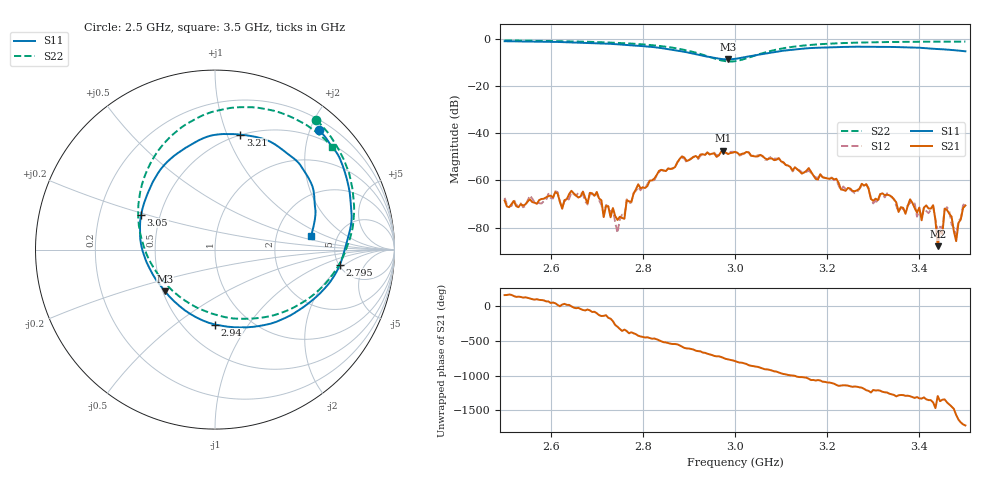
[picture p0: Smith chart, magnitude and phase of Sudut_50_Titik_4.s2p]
# Hz S RI R 50
! CMT, C1220, 16058040, 17.2.0/1
! Date: 15/08/2018 10:31:40
! Data: Format (Calibration Info)
! Freq  S11: Re/Im (F2)  S21: Re/Im (F2)  S12: Re/Im (F2)  S22: Re/Im (F2)
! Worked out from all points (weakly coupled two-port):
!   201 points, 2.5 GHz to 3.5 GHz, reference 50 ohm
!   highest |S21| = -47.48 dB at 2.975 GHz (marker M1); lowest = -87.9 dB at 3.44 GHz (marker M2)
!   lowest |S11| = -8.8 dB at 2.985 GHz (marker M3), VSWR 2.14, Z = 25.7 - j13.7 ohm
!   |S11| at or under -10 dB: nowhere
!   |S22| runs from -9.7 to -0.8 dB; largest |S21 - S12| = 0.00027
!   S11 on the Smith chart (normalised r, x): 2.5 GHz: 0.35, +2.15; 2.795 GHz: 5.12, -1.68; 2.94 GHz: 0.70, -0.71; 3.05 GHz: 0.39, +0.19; 3.21 GHz: 0.50, +1.12; 3.5 GHz: 3.18, +0.70
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2.5e9  0.5792 0.6665  -0.000354 0.00012  -0.000415 9.15e-05  0.5651 0.7219
2.61e9  0.7043 0.4857  0.00041 0.000388  0.00042 0.000408  0.6828 0.5686
2.625e9  0.7188 0.4464  0.000227 0.000104  0.000259 6.62e-05  0.6971 0.5425
2.67e9  0.7476 0.3358  0.00034 -0.000467  0.000274 -0.000428  0.7372 0.4527
2.7e9  0.757 0.2502  -0.000106 -0.000556  -0.000135 -0.00052  0.7569 0.3812
2.745e9  0.7522 0.1091  6.2e-05 0.000131  7.37e-05 2.06e-05  0.7738 0.2582
2.795e9  0.696 -0.0835  0.000172 -0.000659  0.000159 -0.000594  0.7594 0.089
2.835e9  0.6005 -0.2278  -0.00102 -0.0012  -0.000946 -0.00116  0.7004 -0.0661
2.94e9  0.00113 -0.4176  0.00317 0.00222  0.00316 0.00232  0.1776 -0.3852
2.975e9  -0.2262 -0.2894  0.0038 -0.00186  0.00371 -0.00185  -0.0958 -0.3258
2.985e9  -0.2791 -0.2319  0.00249 -0.00259  0.00269 -0.00256  -0.169 -0.2829
3e9  -0.3466 -0.1386  0.00129 -0.00378  0.00103 -0.00386  -0.2666 -0.1995
3.05e9  -0.4116 0.195  -0.00293 -0.00135  -0.00314 -0.00131  -0.4275 0.1738
3.17e9  -0.0111 0.6376  0.00122 0.000358  0.00119 0.000396  -0.0783 0.7434
3.21e9  0.141 0.6405  0.000989 -0.000526  0.000946 -0.000647  0.0688 0.7862
3.335e9  0.4665 0.4825  -0.000482 1.58e-05  -0.000474 5.43e-05  0.4036 0.7478
3.405e9  0.5493 0.3257  -4.29e-05 0.000135  -7.07e-05 0.000148  0.5278 0.6811
3.43e9  0.5555 0.2549  0.000181 0.000235  0.000167 0.000217  0.5644 0.6547
3.44e9  0.5583 0.2295  -3.26e-05 2.36e-05  -7.16e-06 8.13e-05  0.5791 0.6422
3.46e9  0.5584 0.1816  0.00014 0.000191  0.000136 0.000233  0.6051 0.6207
3.48e9  0.5493 0.1319  -3.27e-05 -3.97e-05  -1.03e-05 -6.64e-05  0.6285 0.5972
3.5e9  0.5349 0.0776  5.24e-05 0.000288  0.00016 0.000288  0.6513 0.574
